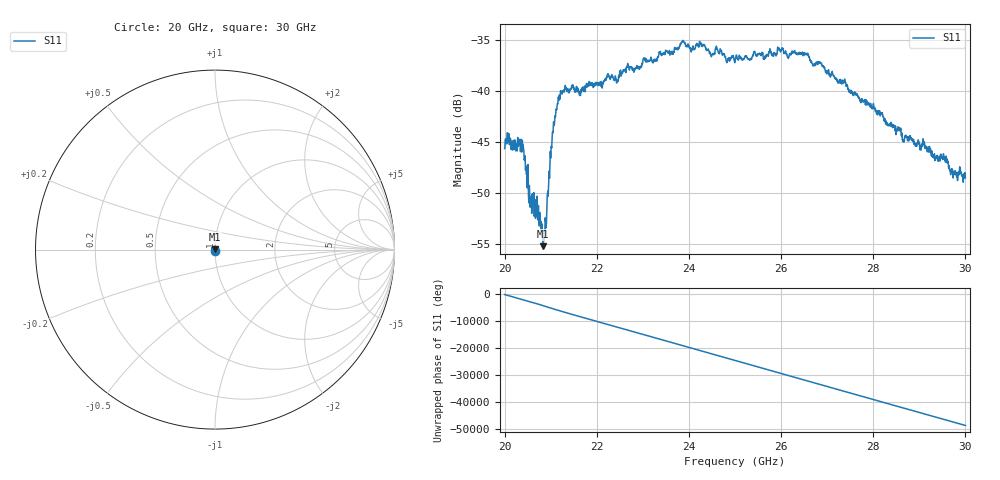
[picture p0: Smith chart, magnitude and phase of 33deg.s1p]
#  HZ  S  RI  R  50.00
! Rohde & Schwarz ZVA40 4Ports - Version 3.90 - 1145.1110k42 SN: 100403
! Date: 2023-10-03 11:49:13
! Measurement: S12
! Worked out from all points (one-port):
!   5001 points, 20 GHz to 30 GHz, reference 50 ohm
!   lowest |S11| = -55.2 dB at 20.83 GHz (marker M1), VSWR 1.00, Z = 49.9 + j0.166 ohm
!   |S11| at or under -10 dB: start of sweep to end of sweep
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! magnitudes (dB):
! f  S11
! 20 GHz  -45.6
! 20.09 GHz  -44.2
! 20.37 GHz  -45.5
! 20.43 GHz  -46.7
! 20.56 GHz  -50.6
! 20.66 GHz  -50.7
! 20.83 GHz  -55.2
! 20.88 GHz  -52.4
! 21.01 GHz  -45.4
! 21.08 GHz  -43.2
! 21.17 GHz  -40.6
! 21.25 GHz  -40.3
! 21.64 GHz  -40.4
! 22.5 GHz  -38.1
! 23.75 GHz  -35.8
! 23.86 GHz  -35.1
! 24.08 GHz  -35.7
! 24.27 GHz  -35.6
! 24.49 GHz  -36.6
! 24.62 GHz  -35.9
! 24.84 GHz  -36.9
! 25 GHz  -37.2
! 26.25 GHz  -36.3
! 26.85 GHz  -37.3
! 27.5 GHz  -40.0
! 28.75 GHz  -44.7
! 29.56 GHz  -46.8
! 30 GHz  -48.5
